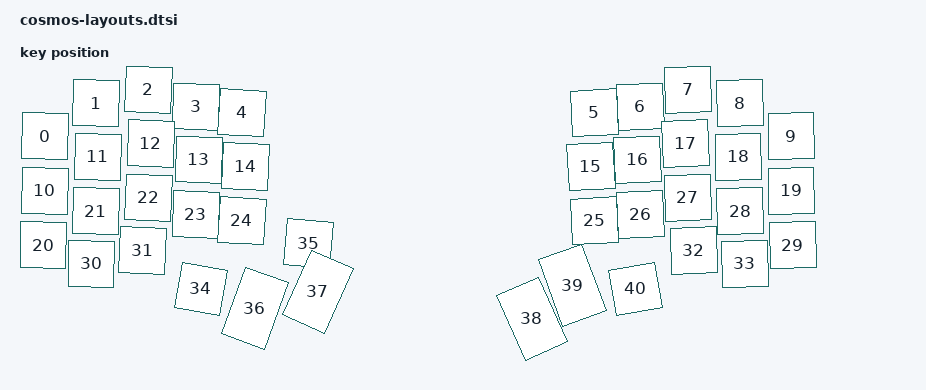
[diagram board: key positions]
// See https://zmk.dev/docs/development/hardware-integration/physical-layouts
// for how to configure this.

#include <physical_layouts.dtsi>

/ {
    default_layout: default_layout {
        compatible = "zmk,physical-layout";
        display-name = "Default Layout";
        transform = <&default_transform>;
        kscan = <&kscan>;
        // Key positions for ZMK Studio, from designs/cosmos-keyboard/cosmos-41.kls.json.
        // Same order as the keymap. Rotation origin = key centre.
        keys  //                     w   h     x     y      rot    rx    ry
        = <&key_physical_attrs 100 100     3    93      100    53   143> // q
        , <&key_physical_attrs 100 100   105    27      100   155    77> // w
        , <&key_physical_attrs 100 100   210     0      200   260    50> // e
        , <&key_physical_attrs 100 100   305    34      200   355    84> // r
        , <&key_physical_attrs 100 100   397    46      300   447    96> // t
        , <&key_physical_attrs 100 100  1102    46   (-300)  1152    96> // y
        , <&key_physical_attrs 100 100  1194    34   (-200)  1244    84> // u
        , <&key_physical_attrs 100 100  1289     0   (-200)  1339    50> // i
        , <&key_physical_attrs 100 100  1393    27   (-100)  1443    77> // o
        , <&key_physical_attrs 100 100  1496    93   (-100)  1546   143> // p
        , <&key_physical_attrs 100 100     3   202      100    53   252> // a
        , <&key_physical_attrs 100 100   109   134      100   159   184> // s
        , <&key_physical_attrs 100 100   215   107      200   265   157> // d
        , <&key_physical_attrs 100 100   311   140      200   361   190> // f
        , <&key_physical_attrs 100 100   404   153      300   454   203> // g
        , <&key_physical_attrs 100 100  1095   153   (-300)  1145   203> // h
        , <&key_physical_attrs 100 100  1188   140   (-200)  1238   190> // j
        , <&key_physical_attrs 100 100  1284   107   (-200)  1334   157> // k
        , <&key_physical_attrs 100 100  1390   134   (-100)  1440   184> // l
        , <&key_physical_attrs 100 100  1496   202   (-100)  1546   252> // Shift
        , <&key_physical_attrs 100 100     0   311      100    50   361> // z
        , <&key_physical_attrs 100 100   105   243      100   155   293> // x
        , <&key_physical_attrs 100 100   210   216      200   260   266> // c
        , <&key_physical_attrs 100 100   305   249      200   355   299> // v
        , <&key_physical_attrs 100 100   397   262      300   447   312> // b
        , <&key_physical_attrs 100 100  1102   262   (-300)  1152   312> // n
        , <&key_physical_attrs 100 100  1194   249   (-200)  1244   299> // m
        , <&key_physical_attrs 100 100  1289   216   (-200)  1339   266> // ,
        , <&key_physical_attrs 100 100  1394   243   (-100)  1444   293> // .
        , <&key_physical_attrs 100 100  1499   311   (-100)  1549   361> // /
        , <&key_physical_attrs 100 100    96   348      100   146   398> // Esc
        , <&key_physical_attrs 100 100   198   321      200   248   371> // Tab
        , <&key_physical_attrs 100 100  1301   321   (-200)  1351   371> // (
        , <&key_physical_attrs 100 100  1403   348   (-100)  1453   398> // ?
        , <&key_physical_attrs 100 100   315   398     1000   365   448> // Cmd
        , <&key_physical_attrs 100 100   531   307      500   581   357> // Space
        , <&key_physical_attrs 150 100   398   437    11000   473   487> // Lower
        , <&key_physical_attrs 150 100   524   404  (-6600)   599   454> // Enter
        , <&key_physical_attrs 150 100   952   458     6600  1027   508> // Ctrl
        , <&key_physical_attrs 150 100  1033   391 (-11000)  1108   441> // Backspace
        , <&key_physical_attrs 100 100  1184   398  (-1000)  1234   448> // Alt
        ;
    };
};
